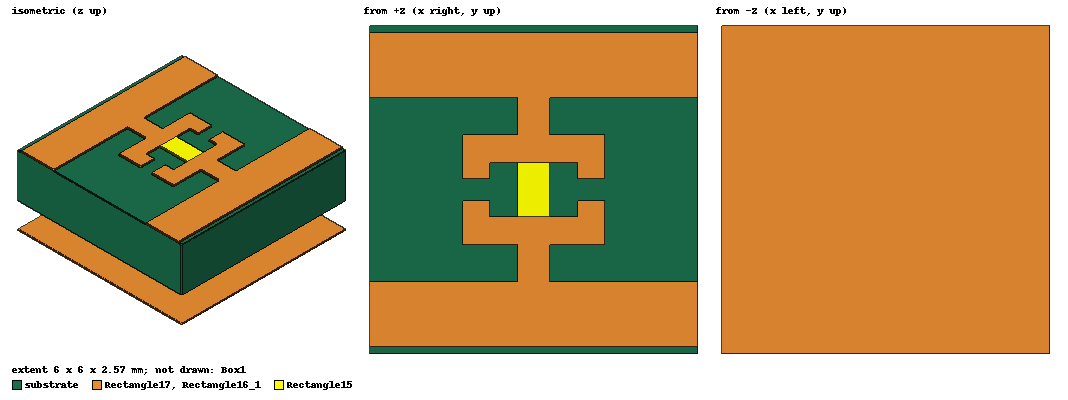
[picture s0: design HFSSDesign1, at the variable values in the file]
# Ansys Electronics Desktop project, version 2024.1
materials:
  vacuum: permittivity=1
  FR4_epoxy: permittivity=4.4 dielectric_loss_tangent=0.02
  Rogers RT/duroid 6010/6010LM (tm): permittivity=10.2 dielectric_loss_tangent=0.0023
  pec: conductivity=1e+30
  copper: permeability=0.999991 conductivity=58000000

design HFSSDesign1 (HFSS, HFSS Modal Network, model units mm)
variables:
  ls = 6mm
  ws = 6mm
  h = 1.6mm
  c = 0.3pF
  l = 0.45nH
  res = 4.8ohm
  body_len = 6mm
  center_pos = 2.28mm
  body_wid = 1.19mm
  connect_wid = 0.6mm
  h1 = 0.9mm
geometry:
  substrate [FR4_epoxy] = box(corner=(-ls/2, -ws/2, 0mm), size=(ls, ws, -h))
  Box1 [vacuum] = box(corner=(-ls/2, -ws/2, -20mm), size=(ls, ws, 40mm))
  Rectangle15 [vacuum] = rectangle(corner=(-0.3mm, 0.5mm, 0mm), x_size=0.6mm, y_size=-1mm)
  Rectangle16 = rectangle(corner=(-body_len/2, center_pos-body_wid/2, 0mm), x_size=body_len, y_size=body_wid)
  Rectangle17 [copper] = rectangle(corner=(-ls/2, -ws/2, -h-h1), x_size=ls, y_size=ws)
  Rectangle18 = rectangle(corner=(-connect_wid/2, center_pos, 0mm), x_size=connect_wid, y_size=-center_pos+0.5mm)
  Rectangle16_1 [copper] = Rectangle16.duplicate_mirror(point=(0mm, 0mm, 0mm), normal=(0mm, -1mm, 0mm))
  Rectangle18_1 = Rectangle18.duplicate_mirror(point=(0mm, 0mm, 0mm), normal=(0mm, -1mm, 0mm))
  Rectangle16_1.unite(Rectangle16, Rectangle18, Rectangle18_1)
  Rectangle15.thicken(-0.035mm)
  Rectangle16_1.thicken(0.035mm)
  Rectangle17.thicken(-0.035mm)
  Rectangle19 = rectangle(corner=(-0.3mm, 0.5mm, 0mm), x_size=-1mm, y_size=0.5mm)
  Rectangle20 = rectangle(corner=(-1.3mm, 0.5mm, 0mm), x_size=0.5mm, y_size=-0.3mm)
  Rectangle20.unite(Rectangle19)
  Rectangle21 = rectangle(corner=(0.3mm, 0.5mm, 0mm), x_size=1mm, y_size=0.5mm)
  Rectangle22 = rectangle(corner=(1.3mm, 0.5mm, 0mm), x_size=-0.5mm, y_size=-0.3mm)
  Rectangle23 = rectangle(corner=(-0.3mm, -0.5mm, 0mm), x_size=-1mm, y_size=-0.5mm)
  Rectangle24 = rectangle(corner=(-1.3mm, -0.5mm, 0mm), x_size=0.5mm, y_size=0.3mm)
  Rectangle25 = rectangle(corner=(0.3mm, -0.5mm, 0mm), x_size=1mm, y_size=-0.5mm)
  Rectangle26 = rectangle(corner=(1.3mm, -0.5mm, 0mm), x_size=-0.5mm, y_size=0.3mm)
  Rectangle23.unite(Rectangle24)
  Rectangle21.unite(Rectangle22)
  Rectangle25.unite(Rectangle26)
  Rectangle20.thicken(-0.035mm)
  [Rectangle21, Rectangle23].thicken(0.035mm)
  Rectangle25.thicken(-0.035mm)
  Rectangle16_1.unite(Rectangle25, Rectangle21, Rectangle20, Rectangle23)
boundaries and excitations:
  LatticePair1: Lattice Pair Faces=Box1.face(+x, -x) CoordSysVector{(3, -3, -20) -> (3, 3, -20)} PhaseDelay=UseScanAngle Phi=0deg Theta=0deg
  LatticePair2: Lattice Pair Faces=Box1.face(-y, +y) CoordSysVector{(3, -3, -20) -> (3, -3, 20)} ReverseV PhaseDelay=UseScanAngle Phi=0deg Theta=0deg
  LumpRLC1: Lumped RLC Objects=Rectangle15 CurrentLine{(0, -0.5, 0.035) -> (0, 0.5, 0.035)} RLC_Type=Serial Resistance=res Inductance=l Capacitance=c
  FloquetPort1: Floquet Port Faces=Box1.face(+z) NumModes=2 Modes{Mode1{CharImp=Zpi} Mode2{CharImp=Zpi}} PhaseDelay=UseScanAngle Phi=0deg Theta=0deg LatticeAVector{(0, 0, 20) -> (0mm, 200mm, 20000mm)} LatticeBVector{(0, 0, 20) -> (200mm, 0mm, 20000mm)} ModesList{Mode{ModeNumber=1 IndexM=0 IndexN=0 KC2=0 PropagationState=Propagating Attenuation=0 PolarizationState=TE AffectsRefinement} Mode{ModeNumber=2 IndexM=0 IndexN=0 KC2=0 PropagationState=Propagating Attenuation=0 PolarizationState=TM AffectsRefinement}}
  FloquetPort2: Floquet Port Faces=Box1.face(-z) NumModes=2 Modes{Mode1{CharImp=Zpi} Mode2{CharImp=Zpi}} PhaseDelay=UseScanAngle Phi=0deg Theta=0deg LatticeAVector{(0mm, 0mm, -20mm) -> (0mm, 0.2mm, -20mm)} LatticeBVector{(0mm, 0mm, -20mm) -> (0.2mm, 0mm, -20mm)} ModesList{Mode{ModeNumber=1 IndexM=0 IndexN=0 KC2=0 PropagationState=Propagating Attenuation=0 PolarizationState=TE AffectsRefinement} Mode{ModeNumber=2 IndexM=0 IndexN=0 KC2=0 PropagationState=Propagating Attenuation=0 PolarizationState=TM AffectsRefinement}}
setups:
  Setup1: HfssDriven Frequency=5GHz MaxDeltaS=0.02 MaximumPasses=20 MinimumPasses=1 MinimumConvergedPasses=1 PercentRefinement=30 BasisOrder=1 PortAccuracy=2 DrivenSolverType="Direct Solver"
    sweep Sweep: 1GHz to 12GHz, 500 points; Type=Interpolating SaveFields InterpTolerance=0.5 InterpMaxSolns=250 InterpUsePortImped=false PassivityErrorTolerance=0.0001
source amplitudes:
  FloquetPort1:1: 1W 0deg
  FloquetPort1:2, FloquetPort2:1, FloquetPort2:2: 0W 0deg
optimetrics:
  ParametricSetup1: Parametric Sim._Setups=[Setup1]
    sweep c: 0.3pF 2.22pF 0.55pF 1.51pF 1.77pF 1.08pF 0.81pF 0.89pF 0.66pF 0.77pF 0.94pF 0.5pF 0.64pF 0.62pF 0.63pF 0.7pF 0.4pF 0.69pF 0.68pF 0.67pF 0.73pF 0.72pF
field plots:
  Mag_E1: E Field in substrate on Setup1 : LastAdaptive at Freq=5GHz Phase=0deg
  Mag_Jsurf1: Jsurf over Rectangle16_1.face(at (0.3, -1.3425, 0.0175), at (0, -0.5, 0.0175), at (-0.3, -1.3425, 0.0175), at (-1.65, -1.685, 0.0175), at (-3, -2.28, 0.0175), at (0, -2.875, 0.0175), at (3, -2.28, 0.0175), at (1.65, -1.685, 0.0175), at (0, -1.5375, 0.035), at (0, -1.5375, 0), at (-0.3, 1.3425, 0.0175), at (0, 0.5, 0.0175)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) on Setup1 : LastAdaptive at Freq=5GHz Phase=0deg
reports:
  S Parameter Plot 1: dB(S(FloquetPort1:1,FloquetPort1:1)) vs Freq on Setup1 : Sweep [c=0.3pF,2.22pF]
  S Parameter Plot 2: cang_deg_val(S(FloquetPort1:1,FloquetPort1:1)) vs Freq on Setup1 : Sweep [c=0.3pF,0.55pF,1.08pF,1.51pF,1.77pF,2.22pF]; markers MY1 at y=-164.275, MY2 at y=-375.191
  S Parameter Plot 3: cang_deg_val(S(FloquetPort1:1,FloquetPort1:1)) vs Freq on Setup1 : Sweep [c=0.3pF,0.905pF,2.22pF]
  S Parameter Plot 4: cang_deg_val(S(FloquetPort1:1,FloquetPort1:1)) vs Freq on Setup1 : Sweep [c=0.3pF,0.4pF,0.55pF,0.6pF,0.62pF,0.63pF,0.64pF,0.66pF,0.67pF,0.68pF,0.69pF,0.7pF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]; markers MY1 at y=-411.26, MY2 at y=-160.496
  S Parameter Plot 5: dB(S(FloquetPort1:1,FloquetPort1:1)) vs Freq on Setup1 : Sweep [c=0.3pF,0.5pF,0.55pF,0.6pF,0.66pF,0.67pF,0.68pF,0.69pF,0.7pF,0.72pF,0.73pF,0.81pF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]; markers MX1 at x=4.9922041e+09
  S Parameter Plot 1_1: dB(S(FloquetPort1:1,FloquetPort1:1)) vs Freq
  S Parameter Plot 6: dB(S(FloquetPort1:1,FloquetPort1:1)) vs Freq on Setup1 : Sweep [c=all]
  S Parameter Plot 7: cang_deg_val(S(FloquetPort1:1,FloquetPort1:1)) vs Freq on Setup1 : Sweep [c=all]; markers MY1 at y=-400.954, MY2 at y=-182.824
